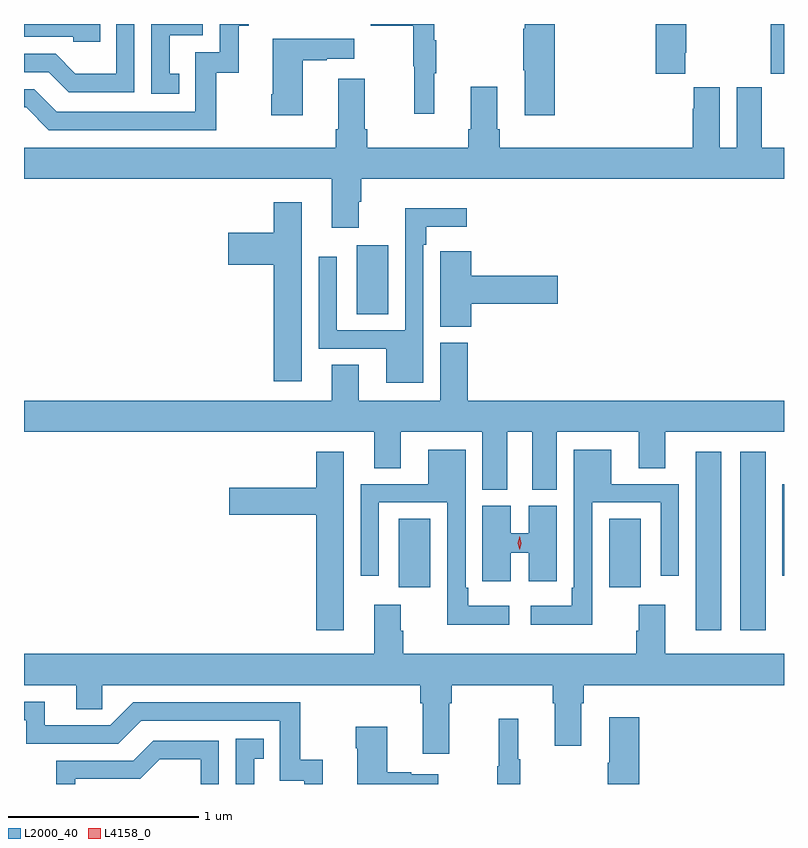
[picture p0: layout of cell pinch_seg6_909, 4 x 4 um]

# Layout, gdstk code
import gdstk
lib = gdstk.Library(unit=1e-6, precision=1e-09)
def R(c, l, rs):  # rectangles x0, y0, x1, y1
    for r in rs: c.add(gdstk.rectangle(r[:2], r[2:], *l))
def P(c, l, *ps):  # polygons
    for p in ps: c.add(gdstk.Polygon(p, *l))
L2000_40 = (2000, 40)
L4158_0 = (4158, 0)

pinch_seg6_909 = lib.new_cell('pinch_seg6_909')
R(pinch_seg6_909, L2000_40, [(316.088,942.297,316.222,943.237), (316.322,942.297,316.456,943.237), (314.525,942.522,314.692,942.884), (315.632,942.522,315.799,942.884), (316.545,942.582,316.553,943.065), (314.303,943.96,314.47,944.323), (316.483,945.225,316.553,945.487)])
P(pinch_seg6_909, L2000_40, [(313.37,945.225),(313.321,945.225),(313.321,945.429),(313.494,945.429),(313.494,945.487),(313.224,945.487),(313.224,945.12),(313.37,945.12)],
  [(312.953,945.487),(312.553,945.487),(312.553,945.42),(312.813,945.42),(312.813,945.393),(312.953,945.393)],
  [(313.134,945.487),(313.038,945.487),(313.038,945.226),(312.824,945.226),(312.72,945.33),(312.553,945.33),(312.553,945.234),(312.683,945.234),(312.788,945.129),(313.134,945.129)],
  [(316.033,945.337),(316.038,945.337),(316.038,945.487),(315.878,945.487),(315.878,945.225),(316.033,945.225)],
  [(314.711,945.227),(314.722,945.227),(314.722,945.401),(314.711,945.401),(314.711,945.487),(314.377,945.487),(314.377,945.478),(314.601,945.478),(314.601,945.264),(314.608,945.264),(314.608,945.015),(314.711,945.015)],
  [(313.564,945.231),(313.682,945.231),(313.682,945.477),(313.735,945.477),(313.735,945.487),(313.584,945.487),(313.584,945.339),(313.455,945.339),(313.455,945.024),(312.726,945.024),(312.606,945.144),(312.553,945.144),(312.553,945.048),(312.564,945.048),(312.684,944.928),(313.564,944.928)],
  [(315.347,945.487),(315.188,945.487),(315.188,945.461),(315.181,945.461),(315.181,945.244),(315.188,945.244),(315.188,945.006),(315.347,945.006)],
  [(314.02,945.295),(314.147,945.295),(314.147,945.305),(314.29,945.305),(314.29,945.409),(313.862,945.409),(313.862,945.118),(313.855,945.118),(313.855,945.006),(314.02,945.006)],
  [(314.207,944.932),(314.195,944.932),(314.195,944.836),(312.553,944.836),(312.553,944.672),(314.174,944.672),(314.174,944.415),(314.314,944.415),(314.314,944.552),(314.327,944.552),(314.327,944.672),(316.553,944.672),(316.553,944.836),(316.435,944.836),(316.435,945.154),(316.304,945.154),(316.304,944.836),(316.216,944.836),(316.216,945.154),(316.079,945.154),(316.079,945.041),(316.073,945.041),(316.073,944.836),(315.056,944.836),(315.056,944.932),(315.043,944.932),(315.043,945.157),(314.903,945.157),(314.903,944.932),(314.891,944.932),(314.891,944.836),(314.36,944.836),(314.36,944.932),(314.347,944.932),(314.347,945.199),(314.207,945.199)],
  [(314.014,944.548),(313.868,944.548),(313.868,944.389),(313.629,944.389),(313.629,944.219),(313.868,944.219),(313.868,943.608),(314.014,943.608)],
  [(314.655,944.324),(314.671,944.324),(314.671,944.42),(314.884,944.42),(314.884,944.518),(314.559,944.518),(314.559,943.875),(314.199,943.875),(314.199,944.263),(314.103,944.263),(314.103,943.779),(314.459,943.779),(314.459,943.598),(314.655,943.598)],
  [(314.906,944.015),(315.361,944.015),(315.361,944.162),(314.906,944.162),(314.906,944.29),(314.745,944.29),(314.745,944.177),(314.744,944.177),(314.744,943.894),(314.906,943.894)],
  [(315.097,943.34),(315.227,943.34),(315.227,943.036),(315.358,943.036),(315.358,943.34),(315.788,943.34),(315.788,943.15),(315.928,943.15),(315.928,943.34),(316.553,943.34),(316.553,943.504),(314.888,943.504),(314.888,943.809),(314.744,943.809),(314.744,943.504),(314.314,943.504),(314.314,943.694),(314.174,943.694),(314.174,943.504),(312.553,943.504),(312.553,943.34),(314.396,943.34),(314.396,943.15),(314.536,943.15),(314.536,943.34),(314.966,943.34),(314.966,943.036),(315.097,943.036)],
  [(315.106,942.424),(314.89,942.424),(314.89,942.52),(314.877,942.52),(314.877,943.246),(314.681,943.246),(314.681,943.065),(314.325,943.065),(314.325,942.582),(314.421,942.582),(314.421,942.969),(314.781,942.969),(314.781,942.326),(315.106,942.326)],
  [(315.543,942.969),(315.903,942.969),(315.903,942.582),(315.999,942.582),(315.999,943.065),(315.643,943.065),(315.643,943.246),(315.447,943.246),(315.447,942.52),(315.435,942.52),(315.435,942.424),(315.219,942.424),(315.219,942.326),(315.543,942.326)],
  [(314.236,943.237),(314.09,943.237),(314.09,943.047),(313.632,943.047),(313.632,942.905),(314.09,942.905),(314.09,942.297),(314.236,942.297)],
  [(315.115,942.703),(315.209,942.703),(315.209,942.555),(315.358,942.555),(315.358,942.951),(315.209,942.951),(315.209,942.807),(315.115,942.807),(315.115,942.951),(314.966,942.951),(314.966,942.555),(315.115,942.555)],
  [(314.791,941.912),(314.804,941.912),(314.804,942.008),(315.335,942.008),(315.335,941.912),(315.347,941.912),(315.347,941.688),(315.487,941.688),(315.487,941.912),(315.5,941.912),(315.5,942.008),(316.553,942.008),(316.553,942.172),(315.928,942.172),(315.928,942.43),(315.788,942.43),(315.788,942.293),(315.776,942.293),(315.776,942.172),(314.549,942.172),(314.549,942.293),(314.536,942.293),(314.536,942.43),(314.396,942.43),(314.396,942.172),(312.553,942.172),(312.553,942.008),(312.827,942.008),(312.827,941.881),(312.966,941.881),(312.966,942.008),(314.639,942.008),(314.639,941.912),(314.651,941.912),(314.651,941.646),(314.791,941.646)],
  [(314.126,941.614),(314.008,941.614),(314.008,941.916),(313.128,941.916),(313.008,941.796),(312.661,941.796),(312.661,941.919),(312.553,941.919),(312.553,941.823),(312.564,941.823),(312.564,941.7),(313.05,941.7),(313.17,941.82),(313.899,941.82),(313.899,941.505),(314.028,941.505),(314.028,941.487),(314.126,941.487)],
  [(315.791,941.839),(315.632,941.839),(315.632,941.6),(315.625,941.6),(315.625,941.487),(315.791,941.487)],
  [(315.166,941.617),(315.155,941.617),(315.155,941.83),(315.052,941.83),(315.052,941.58),(315.045,941.58),(315.045,941.487),(315.166,941.487)],
  [(314.734,941.539),(314.591,941.539),(314.591,941.549),(314.464,941.549),(314.464,941.788),(314.299,941.788),(314.299,941.675),(314.306,941.675),(314.306,941.487),(314.734,941.487)],
  [(313.765,941.619),(313.814,941.619),(313.814,941.725),(313.668,941.725),(313.668,941.487),(313.765,941.487)],
  [(312.822,941.514),(313.164,941.514),(313.268,941.618),(313.482,941.618),(313.482,941.487),(313.578,941.487),(313.578,941.715),(313.232,941.715),(313.127,941.61),(312.724,941.61),(312.724,941.487),(312.822,941.487)])
P(pinch_seg6_909, L4158_0, [(315.161,942.72),(315.161,942.721),(315.151,942.755),(315.161,942.79),(315.161,942.79),(315.162,942.79),(315.171,942.755),(315.162,942.721)])

lib.write_gds('pinch_seg6_909.gds')
